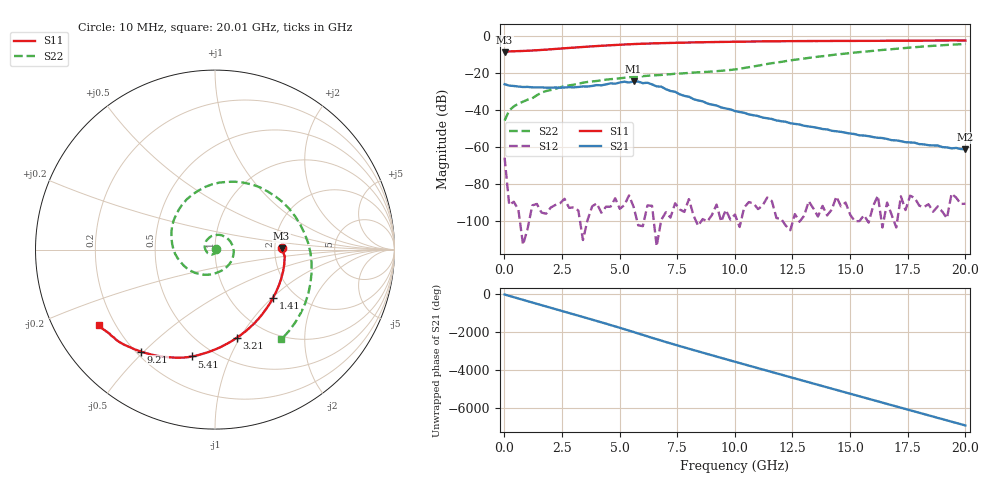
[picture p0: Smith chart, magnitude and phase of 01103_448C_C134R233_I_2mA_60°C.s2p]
!;Filter: kein Filter
!auto
!3/21/2019 9:26:52 AM
!3/21/2019 9:27:07 AM
!SP-Measurements Prober G4
!SP-Measurements Prober G4
!01103_448C
!134
!233
!12
!60
!-20
!0.00199954
!1.75
!0.22129449
!0.22129449
# Hz S  RI  R 50
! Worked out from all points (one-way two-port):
!   101 points, 10 MHz to 20.01 GHz, reference 50 ohm
!   highest |S21| = -24.40 dB at 5.61 GHz (marker M1); lowest = -61.1 dB at 20.01 GHz (marker M2)
!   lowest |S11| = -8.6 dB at 10 MHz (marker M3), VSWR 2.18, Z = 109 + j1.65 ohm
!   |S11| at or under -10 dB: nowhere
!   |S22| runs from -45.6 to -4.1 dB; largest |S21 - S12| = 0.06
!   S11 on the Smith chart (normalised r, x): 10 MHz: 2.18, +0.03; 1.41 GHz: 1.56, -1.01; 3.21 GHz: 0.74, -0.97; 5.41 GHz: 0.39, -0.73; 9.21 GHz: 0.22, -0.49; 20.01 GHz: 0.14, -0.29
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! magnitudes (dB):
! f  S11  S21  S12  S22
! 10 MHz  -8.6  -25.9  -65.6  -45.6
! 210 MHz  -8.2  -26.7  -91.2  -40.1
! 610 MHz  -8.0  -27.2  -94.0  -36.4
! 1.21 GHz  -7.7  -27.6  -91.5  -33.5
! 1.41 GHz  -7.5  -27.7  -90.7  -31.9
! 1.81 GHz  -7.2  -27.8  -96.0  -29.6
! 3.21 GHz  -5.9  -27.4  -94.2  -25.6
! 3.41 GHz  -5.7  -27.1  -110.2  -25.1
! 4.81 GHz  -4.7  -25.6  -87.6  -23.0
! 5.21 GHz  -4.4  -24.5  -91.3  -22.4
! 5.41 GHz  -4.3  -25.0  -86.1  -22.1
! 5.61 GHz  -4.2  -24.4  -92.3  -21.9
! 6.21 GHz  -3.9  -25.1  -91.5  -21.3
! 6.61 GHz  -3.8  -27.1  -113.5  -21.0
! 6.81 GHz  -3.7  -27.2  -99.3  -20.9
! 8.21 GHz  -3.3  -34.0  -97.0  -19.6
! 9.21 GHz  -3.1  -37.4  -91.0  -18.8
! 10.01 GHz  -2.9  -40.5  -96.4  -17.9
! 13.41 GHz  -2.5  -49.1  -93.1  -11.3
! 16.81 GHz  -2.4  -56.2  -96.6  -7.0
! 19.41 GHz  -2.2  -60.6  -85.2  -4.5
! 20.01 GHz  -2.3  -61.1  -90.6  -4.1
